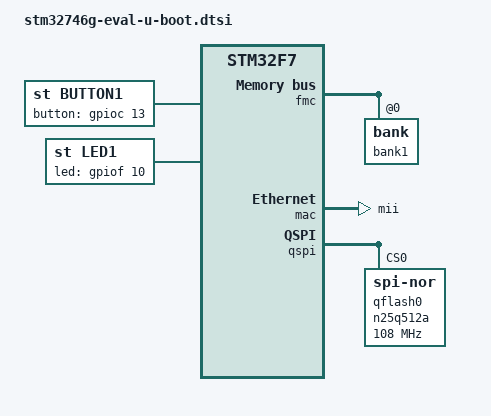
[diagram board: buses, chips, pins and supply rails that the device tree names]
// SPDX-License-Identifier: GPL-2.0+

#include <stm32f7-u-boot.dtsi>
/{
	chosen {
		bootargs = "root=/dev/mmcblk0p1 rw rootwait";
	};

	aliases {
		/* Aliases for gpios so as to use sequence */
		gpio0 = &gpioa;
		gpio1 = &gpiob;
		gpio2 = &gpioc;
		gpio3 = &gpiod;
		gpio4 = &gpioe;
		gpio5 = &gpiof;
		gpio6 = &gpiog;
		gpio7 = &gpioh;
		gpio8 = &gpioi;
		gpio9 = &gpioj;
		gpio10 = &gpiok;
		mmc0 = &sdio1;
		spi0 = &qspi;
	};

	button1 {
		compatible = "st,button1";
		button-gpio = <&gpioc 13 0>;
	};

	led1 {
		compatible = "st,led1";
		led-gpio = <&gpiof 10 0>;
	};
};

&fmc {
	/*
	 * Memory configuration from sdram datasheet IS42S32800G-6BLI
	 */
	bank1: bank@0 {
		u-boot,dm-pre-reloc;
		st,sdram-control = /bits/ 8 <NO_COL_9
					     NO_ROW_12
					     MWIDTH_32
					     BANKS_4
					     CAS_2
					     SDCLK_3
					     RD_BURST_EN
					     RD_PIPE_DL_0>;
		st,sdram-timing = /bits/ 8 <TMRD_1
					    TXSR_1
					    TRAS_1
					    TRC_6
					    TRP_2
					    TWR_1
					    TRCD_1>;
		st,sdram-refcount = <1539>;
	};
};

&mac {
	phy-mode = "mii";
};

&pinctrl {
	ethernet_mii: mii@0 {
		pins {
			pinmux = <STM32_PINMUX('A', 0, AF11)>, /*ETH_MII_CRS */
				 <STM32_PINMUX('A', 1, AF11)>, /*ETH_MII_RX_CLK */
				 <STM32_PINMUX('A', 7, AF11)>, /*ETH_MII_RX_DV */
				 <STM32_PINMUX('A', 8, AF0)>, /*ETH_MII_MCO1 */
				 <STM32_PINMUX('G',13, AF11)>, /*ETH_MII_TXD0 */
				 <STM32_PINMUX('G',14, AF11)>, /*ETH_MII_TXD1 */
				 <STM32_PINMUX('C', 2, AF11)>, /*ETH_MII_TXD2 */
				 <STM32_PINMUX('E', 2, AF11)>, /*ETH_MII_TXD3 */
				 <STM32_PINMUX('C', 3, AF11)>, /*ETH_MII_TX_CLK */
				 <STM32_PINMUX('C', 4, AF11)>, /*ETH_MII_RXD0 */
				 <STM32_PINMUX('C', 5, AF11)>, /*ETH_MII_RXD1 */
				 <STM32_PINMUX('H', 6, AF11)>, /*ETH_MII_RXD2 */
				 <STM32_PINMUX('H', 7, AF11)>, /*ETH_MII_RXD3 */
				 <STM32_PINMUX('G',11, AF11)>, /*ETH_MII_TX_EN */
				 <STM32_PINMUX('C', 1, AF11)>, /*ETH_MII_MDC */
				 <STM32_PINMUX('A', 2, AF11)>; /*ETH_MII_MDIO */
			slew-rate = <2>;
		};
	};

	fmc_pins: fmc@0 {
		pins {
			pinmux = <STM32_PINMUX('I',10, AF12)>, /* D31 */
				 <STM32_PINMUX('I', 9, AF12)>, /* D30 */
				 <STM32_PINMUX('I', 7, AF12)>, /* D29 */
				 <STM32_PINMUX('I', 6, AF12)>, /* D28 */
				 <STM32_PINMUX('I', 3, AF12)>, /* D27 */
				 <STM32_PINMUX('I', 2, AF12)>, /* D26 */
				 <STM32_PINMUX('I', 1, AF12)>, /* D25 */
				 <STM32_PINMUX('I', 0, AF12)>, /* D24 */
				 <STM32_PINMUX('H',15, AF12)>, /* D23 */
				 <STM32_PINMUX('H',14, AF12)>, /* D22 */
				 <STM32_PINMUX('H',13, AF12)>, /* D21 */
				 <STM32_PINMUX('H',12, AF12)>, /* D20 */
				 <STM32_PINMUX('H',11, AF12)>, /* D19 */
				 <STM32_PINMUX('H',10, AF12)>, /* D18 */
				 <STM32_PINMUX('H', 9, AF12)>, /* D17 */
				 <STM32_PINMUX('H', 8, AF12)>, /* D16 */

				 <STM32_PINMUX('D',10, AF12)>, /* D15 */
				 <STM32_PINMUX('D', 9, AF12)>, /* D14 */
				 <STM32_PINMUX('D', 8, AF12)>, /* D13 */
				 <STM32_PINMUX('E',15, AF12)>, /* D12 */
				 <STM32_PINMUX('E',14, AF12)>, /* D11 */
				 <STM32_PINMUX('E',13, AF12)>, /* D10 */
				 <STM32_PINMUX('E',12, AF12)>, /* D9 */
				 <STM32_PINMUX('E',11, AF12)>, /* D8 */
				 <STM32_PINMUX('E',10, AF12)>, /* D7 */
				 <STM32_PINMUX('E', 9, AF12)>, /* D6 */
				 <STM32_PINMUX('E', 8, AF12)>, /* D5 */
				 <STM32_PINMUX('E', 7, AF12)>, /* D4 */
				 <STM32_PINMUX('D', 1, AF12)>, /* D3 */
				 <STM32_PINMUX('D', 0, AF12)>, /* D2 */
				 <STM32_PINMUX('D',15, AF12)>, /* D1 */
				 <STM32_PINMUX('D',14, AF12)>, /* D0 */

				 <STM32_PINMUX('I', 5, AF12)>, /* NBL3 */
				 <STM32_PINMUX('I', 4, AF12)>, /* NBL2 */
				 <STM32_PINMUX('E', 1, AF12)>, /* NBL1 */
				 <STM32_PINMUX('E', 0, AF12)>, /* NBL0 */

				 <STM32_PINMUX('G', 5, AF12)>, /* BA1 */
				 <STM32_PINMUX('G', 4, AF12)>, /* BA0 */

				 <STM32_PINMUX('G', 1, AF12)>, /* A11 */
				 <STM32_PINMUX('G', 0, AF12)>, /* A10 */
				 <STM32_PINMUX('F',15, AF12)>, /* A9 */
				 <STM32_PINMUX('F',14, AF12)>, /* A8 */
				 <STM32_PINMUX('F',13, AF12)>, /* A7 */
				 <STM32_PINMUX('F',12, AF12)>, /* A6 */
				 <STM32_PINMUX('F', 5, AF12)>, /* A5 */
				 <STM32_PINMUX('F', 4, AF12)>, /* A4 */
				 <STM32_PINMUX('F', 3, AF12)>, /* A3 */
				 <STM32_PINMUX('F', 2, AF12)>, /* A2 */
				 <STM32_PINMUX('F', 1, AF12)>, /* A1 */
				 <STM32_PINMUX('F', 0, AF12)>, /* A0 */

				 <STM32_PINMUX('H', 3, AF12)>, /* SDNE0 */
				 <STM32_PINMUX('H', 5, AF12)>, /* SDNWE */
				 <STM32_PINMUX('F',11, AF12)>, /* SDNRAS */
				 <STM32_PINMUX('G',15, AF12)>, /* SDNCAS */
				 <STM32_PINMUX('C', 3, AF12)>, /* SDCKE0 */
				 <STM32_PINMUX('G', 8, AF12)>; /* SDCLK> */
			slew-rate = <2>;
		};
	};

	qspi_pins: qspi@0 {
		pins {
			pinmux = <STM32_PINMUX('B', 2, AF9)>, /* _FUNC_QUADSPI_CLK */
				 <STM32_PINMUX('B', 6, AF10)>, /*_FUNC_QUADSPI_BK1_NCS */
				 <STM32_PINMUX('F', 8, AF10)>, /* _FUNC_QUADSPI_BK1_IO0 */
				 <STM32_PINMUX('F', 9, AF10)>, /* _FUNC_QUADSPI_BK1_IO1 */
				 <STM32_PINMUX('F', 6, AF9)>, /* AF_FUNC_QUADSPI_BK1_IO3 */
				 <STM32_PINMUX('F', 7, AF9)>; /* _FUNC_QUADSPI_BK1_IO2 */
			slew-rate = <2>;
		};
	};

	usart1_pins_a: usart1@0	{
		u-boot,dm-pre-reloc;
		pins1 {
			u-boot,dm-pre-reloc;
		};
		pins2 {
			u-boot,dm-pre-reloc;
		};
	};
};

&qspi {
	reg = <0xA0001000 0x1000>, <0x90000000 0x4000000>;
	qflash0: n25q512a {
		#address-cells = <1>;
		#size-cells = <1>;
		compatible = "jedec,spi-nor";
		spi-max-frequency = <108000000>;
		spi-tx-bus-width = <4>;
		spi-rx-bus-width = <4>;
		reg = <0>;
	};
};
